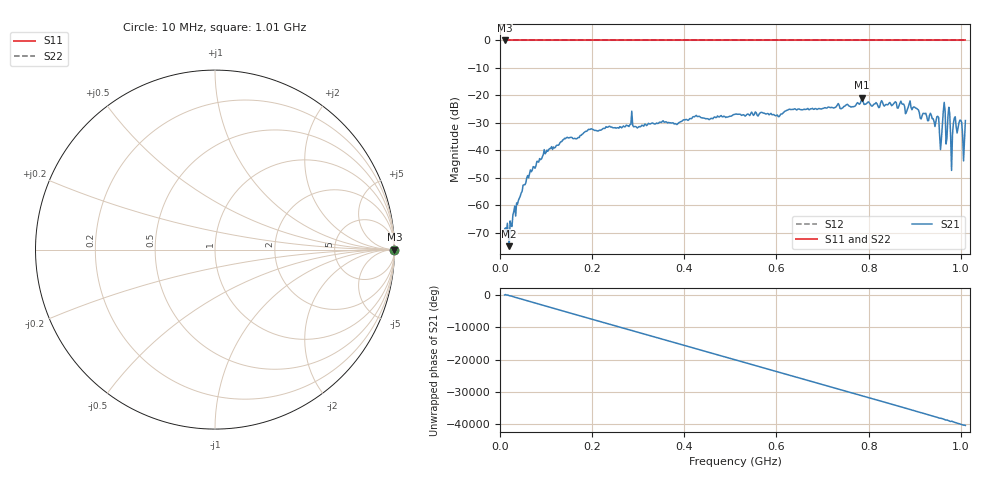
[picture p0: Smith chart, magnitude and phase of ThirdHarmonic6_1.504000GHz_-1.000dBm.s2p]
! 8/16/2025 5:41:10 PM
! C:\ANRITSUVNA\TEMP\TEMP.S2P
! CHANNEL.1
! TR.MEASUREMENT
! RAW.DATA
! RF.CORRECTION.OFF
! AVERAGING.OFF
! IF.BANDWIDTH: 5KHZ
! SWEEPTYPE:  FREQ.SWEEP(Linear)
! Reference Plane Port Info
! PORT:  PORT1  PORT2
! DISTANCE:  0  m  0  m
! TIME:  0  s  0  s
! PHASE.OFFSET:  0  deg.  0  deg.
! LOSS:  0  dB  0  dB
! REF.LOSS:  0  dB  0  dB
! REF.FREQ:  0  Hz  0  Hz
! Power Info
! POWER:  -20  dBm  -20  dBm
! EFF.POWER:  -20  dBm  -20  dBm
! SOURCE.ATTEN:  0  dB  0  dB
! TEST.ATTEN:  0  dB  0  dB
# GHZ S RI R 50.0
! FREQ.GHZ  S11RE  S11IM  S21RE  S21IM  S12RE  S12IM  S22RE  S22IM
!; PortSelection: Port_12
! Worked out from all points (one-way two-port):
!   501 points, 10 MHz to 1.01 GHz, reference 50 ohm
!   highest |S21| = -20.83 dB at 786 MHz (marker M1); lowest = -74.9 dB at 20 MHz (marker M2)
!   lowest |S11| = 0.0 dB at 10 MHz (marker M3)
!   |S11| at or under -10 dB: nowhere
!   |S22| runs from 0.0 to 0.0 dB; largest |S21 - S12| = 1.1
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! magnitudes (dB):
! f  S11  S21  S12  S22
! 10 MHz  0.0  -68.8  0.0  0.0
! 20 MHz  0.0  -74.9  0.0  0.0
! 48 MHz  0.0  -55.0  0.0  0.0
! 70 MHz  0.0  -47.2  0.0  0.0
! 108 MHz  0.0  -39.4  0.0  0.0
! 178 MHz  0.0  -34.2  0.0  0.0
! 284 MHz  0.0  -30.6  0.0  0.0
! 344 MHz  0.0  -30.2  0.0  0.0
! 510 MHz  0.0  -26.9  0.0  0.0
! 678 MHz  0.0  -24.7  0.0  0.0
! 786 MHz  0.0  -20.8  0.0  0.0
! 844 MHz  0.0  -22.9  0.0  0.0
! 936 MHz  0.0  -27.2  0.0  0.0
! 950 MHz  0.0  -27.6  0.0  0.0
! 956 MHz  0.0  -39.8  0.0  0.0
! 962 MHz  0.0  -25.9  0.0  0.0
! 974 MHz  0.0  -24.3  0.0  0.0
! 982 MHz  0.0  -34.3  0.0  0.0
! 988 MHz  0.0  -27.8  0.0  0.0
! 1 GHz  0.0  -29.1  0.0  0.0
! 1.004 GHz  0.0  -34.4  0.0  0.0
! 1.01 GHz  0.0  -29.2  0.0  0.0
